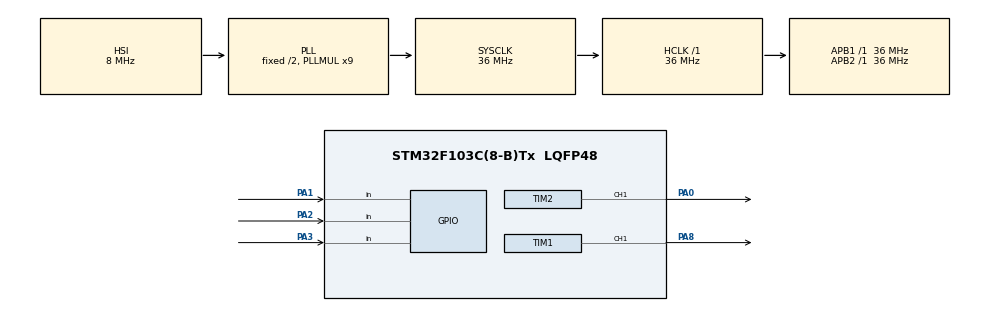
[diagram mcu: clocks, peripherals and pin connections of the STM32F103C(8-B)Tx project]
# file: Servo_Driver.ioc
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Mcu.Family=STM32F1
Mcu.Name=STM32F103C(8-B)Tx
Mcu.Package=LQFP48
NVIC.PriorityGroup=NVIC_PRIORITYGROUP_4
PA0-WKUP.Signal=S_TIM2_CH1_ETR
PA1.Signal=GPIO_Input
PA13.Mode=Serial_Wire
PA13.Signal=SYS_JTMS-SWDIO
PA14.Mode=Serial_Wire
PA14.Signal=SYS_JTCK-SWCLK
PA2.Signal=GPIO_Input
PA3.Signal=GPIO_Input
PA8.Signal=S_TIM1_CH1
PD0-OSC_IN.Mode=HSE-External-Oscillator
PD0-OSC_IN.Signal=RCC_OSC_IN
PD1-OSC_OUT.Mode=HSE-External-Oscillator
PD1-OSC_OUT.Signal=RCC_OSC_OUT
ProjectManager.HeapSize=0x200
ProjectManager.StackSize=0x400
ProjectManager.TargetToolchain=STM32CubeIDE
RCC.AHBFreq_Value=36000000
RCC.APB1Freq_Value=36000000
RCC.APB1TimFreq_Value=36000000
RCC.APB2Freq_Value=36000000
RCC.APB2TimFreq_Value=36000000
RCC.HCLKFreq_Value=36000000
RCC.PLLMUL=RCC_PLL_MUL9
RCC.SYSCLKFreq_VALUE=36000000
RCC.SYSCLKSource=RCC_SYSCLKSOURCE_PLLCLK
RCC.USBFreq_Value=36000000
SH.S_TIM1_CH1.0=TIM1_CH1,Output Compare1 CH1
SH.S_TIM2_CH1_ETR.0=TIM2_CH1,PWM Generation1 CH1
TIM1.Channel-Output\ Compare1\ CH1=TIM_CHANNEL_1
TIM1.Period=19999 
TIM1.Prescaler=35
TIM2.Channel-PWM\ Generation1\ CH1=TIM_CHANNEL_1
TIM2.Prescaler=50
VP_TIM1_VS_ClockSourceINT.Mode=Internal
VP_TIM1_VS_ClockSourceITR.Mode=TriggerSource_ITR1
VP_TIM2_VS_ClockSourceINT.Mode=Internal
VP_TIM2_VS_ClockSourceITR.Mode=TriggerSource_ITR2
board=custom

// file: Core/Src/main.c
/* USER CODE BEGIN Header */
/**
  ******************************************************************************
  * @file           : main.c
  * @brief          : İki servo motor kontrolü için STM32 uygulaması
  ******************************************************************************
  * @attention
  * Copyright (c) 2025 STMicroelectronics.
  * All rights reserved.
  ******************************************************************************
  */
/* USER CODE END Header */
#include "main.h"

TIM_HandleTypeDef htim1;
TIM_HandleTypeDef htim2;

/* USER CODE BEGIN PV */
uint16_t servo1_pos = 1600;  // Servo 1 pozisyonu (90 derece başlangıç)
/* USER CODE END PV */

void SystemClock_Config(void);
static void MX_GPIO_Init(void);
static void MX_TIM1_Init(void);
static void MX_TIM2_Init(void);
/* USER CODE BEGIN PFP */
void set_servo1(uint16_t position) {
  servo1_pos = position;
  __HAL_TIM_SET_COMPARE(&htim2, TIM_CHANNEL_1, position);
}

uint8_t read_button1(void) {
  return !HAL_GPIO_ReadPin(GPIOA, GPIO_PIN_1); // Pull-up olduğu için ters çevirdik
}

uint8_t read_button2(void) {
  return !HAL_GPIO_ReadPin(GPIOA, GPIO_PIN_2); // Pull-up olduğu için ters çevirdik
}

uint8_t read_button3(void) {
  return !HAL_GPIO_ReadPin(GPIOA, GPIO_PIN_3); // Pull-up olduğu için ters çevirdik
}

void handle_button_control(void) {
  if (read_button1()) {
    // 1. buton basılı - PA1
    set_servo1(900);
  } else if (read_button2()) {
    // 2. buton basılı - PA2
    set_servo1(550);
  } else if (read_button3()) {
    // 3. buton basılı - PA3
    set_servo1(100);
  } else {
    // Hiçbir buton basılı değil - varsayılan pozisyon
    set_servo1(1500);  // Orta pozisyon
  }
}
/* USER CODE END PFP */

int main(void)
{

  /* MCU Configuration--------------------------------------------------------*/

  /* Reset of all peripherals, Initializes the Flash interface and the Systick. */
  HAL_Init();

  /* Configure the system clock */
  SystemClock_Config();

  /* Initialize all configured peripherals */
  MX_GPIO_Init();
  MX_TIM1_Init();
  MX_TIM2_Init();
  /* USER CODE BEGIN 2 */
  // PWM'i başlat (sadece servo1)
  HAL_TIM_PWM_Start(&htim2, TIM_CHANNEL_1); // Servo 1 (PA0)

  // Servo1'i başlangıç pozisyonuna getir (90 derece)
  set_servo1(1600);

  HAL_Delay(1000); // Servo stabilizasyonu için bekle
  /* USER CODE END 2 */

  /* Infinite loop */
  while (1)
  {

    /* USER CODE BEGIN 3 */
    // Buton durumuna göre servo kontrolü
    handle_button_control();

    HAL_Delay(10); // CPU yükünü azaltmak için kısa gecikme
  }
  /* USER CODE END 3 */
}

void SystemClock_Config(void)
{
  RCC_OscInitTypeDef RCC_OscInitStruct = {0};
  RCC_ClkInitTypeDef RCC_ClkInitStruct = {0};

  /** Initializes the RCC Oscillators according to the specified parameters
  * in the RCC_OscInitStruct structure.
  */
  RCC_OscInitStruct.OscillatorType = RCC_OSCILLATORTYPE_HSI;
  RCC_OscInitStruct.HSIState = RCC_HSI_ON;
  RCC_OscInitStruct.HSICalibrationValue = RCC_HSICALIBRATION_DEFAULT;
  RCC_OscInitStruct.PLL.PLLState = RCC_PLL_ON;
  RCC_OscInitStruct.PLL.PLLSource = RCC_PLLSOURCE_HSI_DIV2;
  RCC_OscInitStruct.PLL.PLLMUL = RCC_PLL_MUL9;
  if (HAL_RCC_OscConfig(&RCC_OscInitStruct) != HAL_OK)
  {
    Error_Handler();
  }

  /** Initializes the CPU, AHB and APB buses clocks
  */
  RCC_ClkInitStruct.ClockType = RCC_CLOCKTYPE_HCLK|RCC_CLOCKTYPE_SYSCLK
                              |RCC_CLOCKTYPE_PCLK1|RCC_CLOCKTYPE_PCLK2;
  RCC_ClkInitStruct.SYSCLKSource = RCC_SYSCLKSOURCE_PLLCLK;
  RCC_ClkInitStruct.AHBCLKDivider = RCC_SYSCLK_DIV1;
  RCC_ClkInitStruct.APB1CLKDivider = RCC_HCLK_DIV1;
  RCC_ClkInitStruct.APB2CLKDivider = RCC_HCLK_DIV1;

  if (HAL_RCC_ClockConfig(&RCC_ClkInitStruct, FLASH_LATENCY_1) != HAL_OK)
  {
    Error_Handler();
  }
}

static void MX_TIM1_Init(void)
{

  TIM_ClockConfigTypeDef sClockSourceConfig = {0};
  TIM_SlaveConfigTypeDef sSlaveConfig = {0};
  TIM_MasterConfigTypeDef sMasterConfig = {0};
  TIM_OC_InitTypeDef sConfigOC = {0};
  TIM_BreakDeadTimeConfigTypeDef sBreakDeadTimeConfig = {0};

  htim1.Instance = TIM1;
  htim1.Init.Prescaler = 71;  // 72MHz / 72 = 1MHz
  htim1.Init.CounterMode = TIM_COUNTERMODE_UP;
  htim1.Init.Period = 19999;  // 20ms period for servo
  htim1.Init.ClockDivision = TIM_CLOCKDIVISION_DIV1;
  htim1.Init.RepetitionCounter = 0;
  htim1.Init.AutoReloadPreload = TIM_AUTORELOAD_PRELOAD_DISABLE;
  if (HAL_TIM_Base_Init(&htim1) != HAL_OK)
  {
    Error_Handler();
  }
  sClockSourceConfig.ClockSource = TIM_CLOCKSOURCE_INTERNAL;
  if (HAL_TIM_ConfigClockSource(&htim1, &sClockSourceConfig) != HAL_OK)
  {
    Error_Handler();
  }
  if (HAL_TIM_PWM_Init(&htim1) != HAL_OK)
  {
    Error_Handler();
  }
  sSlaveConfig.SlaveMode = TIM_SLAVEMODE_DISABLE;
  sSlaveConfig.InputTrigger = TIM_TS_ITR1;
  if (HAL_TIM_SlaveConfigSynchro(&htim1, &sSlaveConfig) != HAL_OK)
  {
    Error_Handler();
  }
  sMasterConfig.MasterOutputTrigger = TIM_TRGO_RESET;
  sMasterConfig.MasterSlaveMode = TIM_MASTERSLAVEMODE_DISABLE;
  if (HAL_TIMEx_MasterConfigSynchronization(&htim1, &sMasterConfig) != HAL_OK)
  {
    Error_Handler();
  }
  sConfigOC.OCMode = TIM_OCMODE_PWM1;
  sConfigOC.Pulse = 1500;  // 1.5ms default pulse width
  sConfigOC.OCPolarity = TIM_OCPOLARITY_HIGH;
  sConfigOC.OCNPolarity = TIM_OCNPOLARITY_HIGH;
  sConfigOC.OCFastMode = TIM_OCFAST_DISABLE;
  sConfigOC.OCIdleState = TIM_OCIDLESTATE_RESET;
  sConfigOC.OCNIdleState = TIM_OCNIDLESTATE_RESET;
  if (HAL_TIM_PWM_ConfigChannel(&htim1, &sConfigOC, TIM_CHANNEL_1) != HAL_OK)
  {
    Error_Handler();
  }
  sBreakDeadTimeConfig.OffStateRunMode = TIM_OSSR_DISABLE;
  sBreakDeadTimeConfig.OffStateIDLEMode = TIM_OSSI_DISABLE;
  sBreakDeadTimeConfig.LockLevel = TIM_LOCKLEVEL_OFF;
  sBreakDeadTimeConfig.DeadTime = 0;
  sBreakDeadTimeConfig.BreakState = TIM_BREAK_DISABLE;
  sBreakDeadTimeConfig.BreakPolarity = TIM_BREAKPOLARITY_HIGH;
  sBreakDeadTimeConfig.AutomaticOutput = TIM_AUTOMATICOUTPUT_DISABLE;
  if (HAL_TIMEx_ConfigBreakDeadTime(&htim1, &sBreakDeadTimeConfig) != HAL_OK)
  {
    Error_Handler();
  }
  HAL_TIM_MspPostInit(&htim1);

}

static void MX_TIM2_Init(void)
{

  TIM_ClockConfigTypeDef sClockSourceConfig = {0};
  TIM_SlaveConfigTypeDef sSlaveConfig = {0};
  TIM_MasterConfigTypeDef sMasterConfig = {0};
  TIM_OC_InitTypeDef sConfigOC = {0};

  htim2.Instance = TIM2;
  htim2.Init.Prescaler = 71;   // 72MHz / 72 = 1MHz
  htim2.Init.CounterMode = TIM_COUNTERMODE_UP;
  htim2.Init.Period = 19999;   // 20ms period for servo
  htim2.Init.ClockDivision = TIM_CLOCKDIVISION_DIV1;
  htim2.Init.AutoReloadPreload = TIM_AUTORELOAD_PRELOAD_DISABLE;
  if (HAL_TIM_Base_Init(&htim2) != HAL_OK)
  {
    Error_Handler();
  }
  sClockSourceConfig.ClockSource = TIM_CLOCKSOURCE_INTERNAL;
  if (HAL_TIM_ConfigClockSource(&htim2, &sClockSourceConfig) != HAL_OK)
  {
    Error_Handler();
  }
  if (HAL_TIM_PWM_Init(&htim2) != HAL_OK)
  {
    Error_Handler();
  }
  sSlaveConfig.SlaveMode = TIM_SLAVEMODE_DISABLE;
  sSlaveConfig.InputTrigger = TIM_TS_ITR2;
  if (HAL_TIM_SlaveConfigSynchro(&htim2, &sSlaveConfig) != HAL_OK)
  {
    Error_Handler();
  }
  sMasterConfig.MasterOutputTrigger = TIM_TRGO_RESET;
  sMasterConfig.MasterSlaveMode = TIM_MASTERSLAVEMODE_DISABLE;
  if (HAL_TIMEx_MasterConfigSynchronization(&htim2, &sMasterConfig) != HAL_OK)
  {
    Error_Handler();
  }
  sConfigOC.OCMode = TIM_OCMODE_PWM1;
  sConfigOC.Pulse = 1500;  // 1.5ms default pulse width
  sConfigOC.OCPolarity = TIM_OCPOLARITY_HIGH;
  sConfigOC.OCFastMode = TIM_OCFAST_DISABLE;
  if (HAL_TIM_PWM_ConfigChannel(&htim2, &sConfigOC, TIM_CHANNEL_1) != HAL_OK)
  {
    Error_Handler();
  }
  HAL_TIM_MspPostInit(&htim2);

}

static void MX_GPIO_Init(void)
{
  GPIO_InitTypeDef GPIO_InitStruct = {0};

  /* GPIO Ports Clock Enable */
  __HAL_RCC_GPIOD_CLK_ENABLE();
  __HAL_RCC_GPIOA_CLK_ENABLE();

  /*Configure GPIO pins : PA1 PA2 PA3 */
  GPIO_InitStruct.Pin = GPIO_PIN_1|GPIO_PIN_2|GPIO_PIN_3;
  GPIO_InitStruct.Mode = GPIO_MODE_INPUT;
  GPIO_InitStruct.Pull = GPIO_PULLUP;  // Pull-up resistor aktif
  HAL_GPIO_Init(GPIOA, &GPIO_InitStruct);

}

void Error_Handler(void)
{
  __disable_irq();
  while (1)
  {
  }
}
